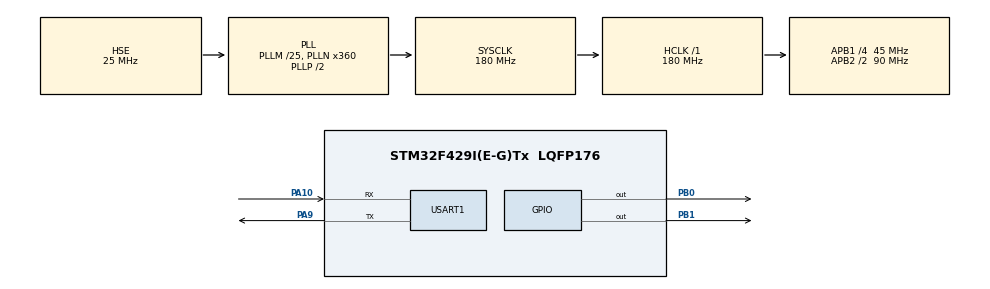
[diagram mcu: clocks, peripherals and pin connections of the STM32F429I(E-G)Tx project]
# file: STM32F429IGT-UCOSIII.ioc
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Mcu.Family=STM32F4
Mcu.Name=STM32F429I(E-G)Tx
Mcu.Package=LQFP176
NVIC.PriorityGroup=NVIC_PRIORITYGROUP_4
PA0/WKUP.Mode=SYS_WakeUp0
PA0/WKUP.Signal=SYS_WKUP
PA10.Mode=Asynchronous
PA10.Signal=USART1_RX
PA13.Mode=Trace_Synchro_4bits_JTAG
PA13.Signal=SYS_JTMS-SWDIO
PA14.Mode=Trace_Synchro_4bits_JTAG
PA14.Signal=SYS_JTCK-SWCLK
PA15.Mode=Trace_Synchro_4bits_JTAG
PA15.Signal=SYS_JTDI
PA9.Mode=Asynchronous
PA9.Signal=USART1_TX
PB0.GPIO_PuPd=GPIO_PULLUP
PB0.GPIO_Speed=GPIO_SPEED_FREQ_HIGH
PB0.PinState=GPIO_PIN_SET
PB0.Signal=GPIO_Output
PB1.GPIO_Speed=GPIO_SPEED_FREQ_HIGH
PB1.Signal=GPIO_Output
PB3.Mode=Trace_Synchro_4bits_JTAG
PB3.Signal=SYS_JTDO-SWO
PC14/OSC32_IN.Mode=LSE-External-Oscillator
PC14/OSC32_IN.Signal=RCC_OSC32_IN
PC15/OSC32_OUT.Mode=LSE-External-Oscillator
PC15/OSC32_OUT.Signal=RCC_OSC32_OUT
PE2.Mode=Trace_Synchro_4bits_JTAG
PE2.Signal=SYS_TRACECLK
PE3.Mode=Trace_Synchro_4bits_JTAG
PE3.Signal=SYS_TRACED0
PE4.Mode=Trace_Synchro_4bits_JTAG
PE4.Signal=SYS_TRACED1
PE5.Mode=Trace_Synchro_4bits_JTAG
PE5.Signal=SYS_TRACED2
PE6.Mode=Trace_Synchro_4bits_JTAG
PE6.Signal=SYS_TRACED3
PH0/OSC_IN.Mode=HSE-External-Oscillator
PH0/OSC_IN.Signal=RCC_OSC_IN
PH1/OSC_OUT.Mode=HSE-External-Oscillator
PH1/OSC_OUT.Signal=RCC_OSC_OUT
ProjectManager.HeapSize=0x200
ProjectManager.StackSize=0x400
ProjectManager.TargetToolchain=Makefile
RCC.48MHZClocksFreq_Value=90000000
RCC.AHBFreq_Value=180000000
RCC.APB1CLKDivider=RCC_HCLK_DIV4
RCC.APB1Freq_Value=45000000
RCC.APB1TimFreq_Value=90000000
RCC.APB2CLKDivider=RCC_HCLK_DIV2
RCC.APB2Freq_Value=90000000
RCC.APB2TimFreq_Value=180000000
RCC.CortexFreq_Value=180000000
RCC.HCLKFreq_Value=180000000
RCC.HSE_VALUE=25000000
RCC.HSI_VALUE=16000000
RCC.PLLI2SN=360
RCC.PLLM=25
RCC.PLLN=360
RCC.PLLSourceVirtual=RCC_PLLSOURCE_HSE
RCC.RCC_RTC_Clock_Source=RCC_RTCCLKSOURCE_LSE
RCC.RCC_RTC_Clock_SourceVirtual=RCC_RTCCLKSOURCE_LSE
RCC.SYSCLKFreq_VALUE=180000000
RCC.SYSCLKSource=RCC_SYSCLKSOURCE_PLLCLK
RCC.VCOOutputFreq_Value=360000000
USART1.VirtualMode=VM_ASYNC
VP_RTC_VS_RTC_Activate.Mode=RTC_Enabled
board=custom

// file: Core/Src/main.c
/* USER CODE BEGIN Header */
/**
  ******************************************************************************
  * @file           : main.c
  * @brief          : Main program body
  ******************************************************************************
  * @attention
  *
  * <h2><center>&copy; Copyright (c) 2019 STMicroelectronics.
  * All rights reserved.</center></h2>
  *
  * This software component is licensed by ST under BSD 3-Clause license,
  * the "License"; You may not use this file except in compliance with the
  * License. You may obtain a copy of the License at:
  *                        opensource.org/licenses/BSD-3-Clause
  *
  ******************************************************************************
  */
/* USER CODE END Header */

#include "main.h"

/* USER CODE BEGIN Includes */
#include "includes.h"
#include "printf_support.h"
/* USER CODE END Includes */

/* USER CODE BEGIN PD */
//START
#define START_TASK_PRIO			18
#define START_STK_SIZE			256
OS_TCB StartTaskTCB;
CPU_STK START_TASK_STK[START_STK_SIZE];
void start_task(void *pdata);

//LED0
#define LED0_TASK_PRIO			11
#define LED0_STK_SIZE			128
OS_TCB Led0TaskTCB;
CPU_STK LED0_TASK_STK[LED0_STK_SIZE];
void led0_task(void *pdata);

//float_task
#define FLOAT_TASK_PRIO			5
#define FLOAT_STK_SIZE			128
OS_TCB	FloatTaskTCB;
CPU_STK FLOAT_TASK_STK[FLOAT_STK_SIZE];
void float_task(void *pdata);
/* USER CODE END PD */

RTC_HandleTypeDef hrtc;

UART_HandleTypeDef huart1;

void SystemClock_Config(void);
static void MX_GPIO_Init(void);
static void MX_RTC_Init(void);
static void MX_USART1_UART_Init(void);

int main(void)
{
  /* USER CODE BEGIN 1 */
  OS_ERR err;
	CPU_SR_ALLOC();
  /* USER CODE END 1 */

  /* MCU Configuration--------------------------------------------------------*/

  /* Reset of all peripherals, Initializes the Flash interface and the Systick. */
  HAL_Init();

  /* Configure the system clock */
  SystemClock_Config();

  /* Initialize all configured peripherals */
  MX_GPIO_Init();
  MX_RTC_Init();
  MX_USART1_UART_Init();
  /* USER CODE BEGIN 2 */
	OSInit(&err);
  OS_CRITICAL_ENTER();
  OSTaskCreate((OS_TCB 	* )&StartTaskTCB,
          (CPU_CHAR	* )"start task",
                 (OS_TASK_PTR )start_task,
                 (void		* )0,
                 (OS_PRIO	  )START_TASK_PRIO,
                 (CPU_STK   * )&START_TASK_STK[0],
                 (CPU_STK_SIZE)START_STK_SIZE/10,
                 (CPU_STK_SIZE)START_STK_SIZE,
                 (OS_MSG_QTY  )0,
                 (OS_TICK	  )0,
                 (void   	* )0,
                 (OS_OPT      )OS_OPT_TASK_STK_CHK|OS_OPT_TASK_STK_CLR|OS_OPT_TASK_SAVE_FP,
                 (OS_ERR 	* )&err);
	OS_CRITICAL_EXIT();
  OSStart(&err);
  /* USER CODE END 2 */

  /* Infinite loop */
  /* USER CODE BEGIN WHILE */
//  while (1)
//  {
    /* USER CODE END WHILE */

    /* USER CODE BEGIN 3 */
//  }
  /* USER CODE END 3 */
}

void SystemClock_Config(void)
{
  RCC_OscInitTypeDef RCC_OscInitStruct = {0};
  RCC_ClkInitTypeDef RCC_ClkInitStruct = {0};
  RCC_PeriphCLKInitTypeDef PeriphClkInitStruct = {0};

  /** Configure the main internal regulator output voltage
  */
  __HAL_RCC_PWR_CLK_ENABLE();
  __HAL_PWR_VOLTAGESCALING_CONFIG(PWR_REGULATOR_VOLTAGE_SCALE1);
  /** Initializes the CPU, AHB and APB busses clocks
  */
  RCC_OscInitStruct.OscillatorType = RCC_OSCILLATORTYPE_HSE|RCC_OSCILLATORTYPE_LSE;
  RCC_OscInitStruct.HSEState = RCC_HSE_ON;
  RCC_OscInitStruct.LSEState = RCC_LSE_ON;
  RCC_OscInitStruct.PLL.PLLState = RCC_PLL_ON;
  RCC_OscInitStruct.PLL.PLLSource = RCC_PLLSOURCE_HSE;
  RCC_OscInitStruct.PLL.PLLM = 25;
  RCC_OscInitStruct.PLL.PLLN = 360;
  RCC_OscInitStruct.PLL.PLLP = RCC_PLLP_DIV2;
  RCC_OscInitStruct.PLL.PLLQ = 4;
  if (HAL_RCC_OscConfig(&RCC_OscInitStruct) != HAL_OK)
  {
    Error_Handler();
  }
  /** Activate the Over-Drive mode
  */
  if (HAL_PWREx_EnableOverDrive() != HAL_OK)
  {
    Error_Handler();
  }
  /** Initializes the CPU, AHB and APB busses clocks
  */
  RCC_ClkInitStruct.ClockType = RCC_CLOCKTYPE_HCLK|RCC_CLOCKTYPE_SYSCLK
                              |RCC_CLOCKTYPE_PCLK1|RCC_CLOCKTYPE_PCLK2;
  RCC_ClkInitStruct.SYSCLKSource = RCC_SYSCLKSOURCE_PLLCLK;
  RCC_ClkInitStruct.AHBCLKDivider = RCC_SYSCLK_DIV1;
  RCC_ClkInitStruct.APB1CLKDivider = RCC_HCLK_DIV4;
  RCC_ClkInitStruct.APB2CLKDivider = RCC_HCLK_DIV2;

  if (HAL_RCC_ClockConfig(&RCC_ClkInitStruct, FLASH_LATENCY_5) != HAL_OK)
  {
    Error_Handler();
  }
  PeriphClkInitStruct.PeriphClockSelection = RCC_PERIPHCLK_RTC;
  PeriphClkInitStruct.RTCClockSelection = RCC_RTCCLKSOURCE_LSE;
  if (HAL_RCCEx_PeriphCLKConfig(&PeriphClkInitStruct) != HAL_OK)
  {
    Error_Handler();
  }
}

static void MX_RTC_Init(void)
{

  /** Initialize RTC Only
  */
  hrtc.Instance = RTC;
  hrtc.Init.HourFormat = RTC_HOURFORMAT_24;
  hrtc.Init.AsynchPrediv = 127;
  hrtc.Init.SynchPrediv = 255;
  hrtc.Init.OutPut = RTC_OUTPUT_DISABLE;
  hrtc.Init.OutPutPolarity = RTC_OUTPUT_POLARITY_HIGH;
  hrtc.Init.OutPutType = RTC_OUTPUT_TYPE_OPENDRAIN;
  if (HAL_RTC_Init(&hrtc) != HAL_OK)
  {
    Error_Handler();
  }

}

static void MX_USART1_UART_Init(void)
{

  huart1.Instance = USART1;
  huart1.Init.BaudRate = 115200;
  huart1.Init.WordLength = UART_WORDLENGTH_8B;
  huart1.Init.StopBits = UART_STOPBITS_1;
  huart1.Init.Parity = UART_PARITY_NONE;
  huart1.Init.Mode = UART_MODE_TX_RX;
  huart1.Init.HwFlowCtl = UART_HWCONTROL_NONE;
  huart1.Init.OverSampling = UART_OVERSAMPLING_16;
  if (HAL_UART_Init(&huart1) != HAL_OK)
  {
    Error_Handler();
  }

}

static void MX_GPIO_Init(void)
{
  GPIO_InitTypeDef GPIO_InitStruct = {0};

  /* GPIO Ports Clock Enable */
  __HAL_RCC_GPIOE_CLK_ENABLE();
  __HAL_RCC_GPIOC_CLK_ENABLE();
  __HAL_RCC_GPIOH_CLK_ENABLE();
  __HAL_RCC_GPIOA_CLK_ENABLE();
  __HAL_RCC_GPIOB_CLK_ENABLE();

  /*Configure GPIO pin Output Level */
  HAL_GPIO_WritePin(GPIOB, GPIO_PIN_0, GPIO_PIN_SET);

  /*Configure GPIO pin Output Level */
  HAL_GPIO_WritePin(GPIOB, GPIO_PIN_1, GPIO_PIN_RESET);

  /*Configure GPIO pin : PB0 */
  GPIO_InitStruct.Pin = GPIO_PIN_0;
  GPIO_InitStruct.Mode = GPIO_MODE_OUTPUT_PP;
  GPIO_InitStruct.Pull = GPIO_PULLUP;
  GPIO_InitStruct.Speed = GPIO_SPEED_FREQ_HIGH;
  HAL_GPIO_Init(GPIOB, &GPIO_InitStruct);

  /*Configure GPIO pin : PB1 */
  GPIO_InitStruct.Pin = GPIO_PIN_1;
  GPIO_InitStruct.Mode = GPIO_MODE_OUTPUT_PP;
  GPIO_InitStruct.Pull = GPIO_NOPULL;
  GPIO_InitStruct.Speed = GPIO_SPEED_FREQ_HIGH;
  HAL_GPIO_Init(GPIOB, &GPIO_InitStruct);

}

/* USER CODE BEGIN 4 */
void start_task(void *p_arg)
{
	OS_ERR err;
	CPU_SR_ALLOC();
	p_arg = p_arg;

	CPU_Init();
#if OS_CFG_STAT_TASK_EN > 0u
   OSStatTaskCPUUsageInit(&err);
#endif

#ifdef CPU_CFG_INT_DIS_MEAS_EN
    CPU_IntDisMeasMaxCurReset();
#endif

#if	OS_CFG_SCHED_ROUND_ROBIN_EN
	OSSchedRoundRobinCfg(DEF_ENABLED,10,&err);
#endif

	OS_CRITICAL_ENTER();
	OSTaskCreate((OS_TCB 	* )&Led0TaskTCB,
				 (CPU_CHAR	* )"led0 task",
                 (OS_TASK_PTR )led0_task,
                 (void		* )0,
                 (OS_PRIO	  )LED0_TASK_PRIO,
                 (CPU_STK   * )&LED0_TASK_STK[0],
                 (CPU_STK_SIZE)LED0_STK_SIZE/10,
                 (CPU_STK_SIZE)LED0_STK_SIZE,
                 (OS_MSG_QTY  )0,
                 (OS_TICK	  )0,
                 (void   	* )0,
                 (OS_OPT      )OS_OPT_TASK_STK_CHK|OS_OPT_TASK_STK_CLR|OS_OPT_TASK_SAVE_FP,
                 (OS_ERR 	* )&err);
	OSTaskCreate((OS_TCB 	* )&FloatTaskTCB,
				 (CPU_CHAR	* )"float test task",
                 (OS_TASK_PTR )float_task,
                 (void		* )0,
                 (OS_PRIO	  )FLOAT_TASK_PRIO,
                 (CPU_STK   * )&FLOAT_TASK_STK[0],
                 (CPU_STK_SIZE)FLOAT_STK_SIZE/10,
                 (CPU_STK_SIZE)FLOAT_STK_SIZE,
                 (OS_MSG_QTY  )0,
                 (OS_TICK	  )0,
                 (void   	* )0,
                 (OS_OPT      )OS_OPT_TASK_STK_CHK|OS_OPT_TASK_STK_CLR|OS_OPT_TASK_SAVE_FP,
                 (OS_ERR 	* )&err);
	OS_CRITICAL_EXIT();
	OS_TaskSuspend((OS_TCB*)&StartTaskTCB,&err);
}

//led0
void led0_task(void *p_arg)
{
	OS_ERR err;
	p_arg = p_arg;
	while(1)
	{
		HAL_GPIO_TogglePin(GPIOB, GPIO_PIN_0);
		OSTimeDlyHMSM(0,0,0,500,OS_OPT_TIME_HMSM_STRICT,&err);
	}
}
//float
void float_task(void *p_arg)
{
	OS_ERR err;
	CPU_SR_ALLOC();
	static float float_num=0.00;
	while(1)
	{
		float_num+=0.01f;
		OS_CRITICAL_ENTER();
		printf("float_num: %.4f\r\n",float_num);
    //fflush(stdout);
		OS_CRITICAL_EXIT();
		OSTimeDlyHMSM(0,0,1,0,OS_OPT_TIME_HMSM_STRICT,&err);
	}
}
/* USER CODE END 4 */

void Error_Handler(void)
{
}

/************************ (C) COPYRIGHT STMicroelectronics *****END OF FILE****/
